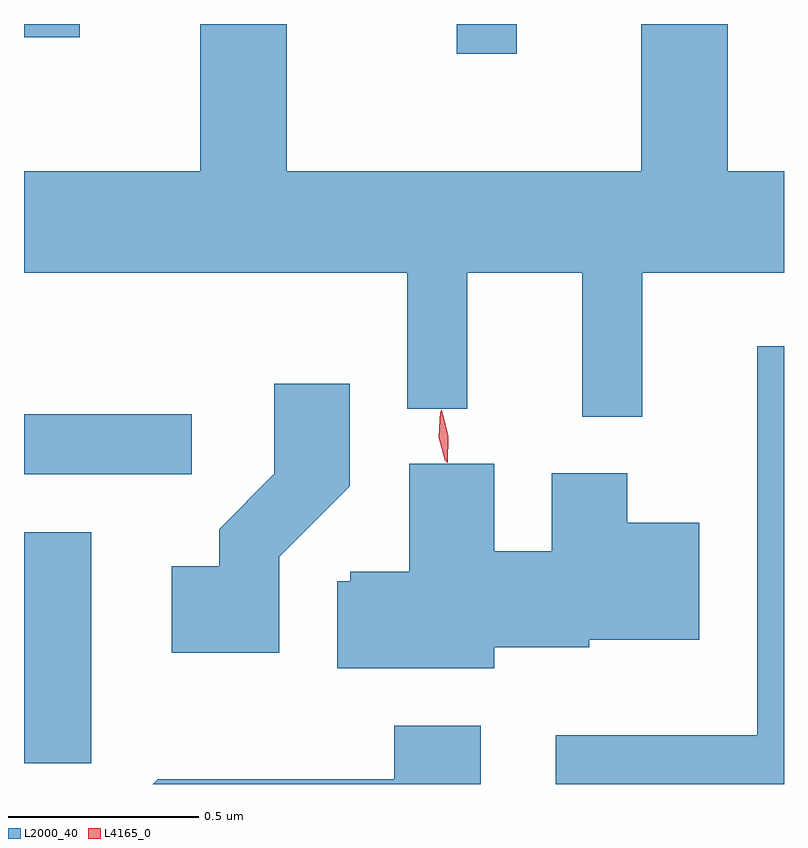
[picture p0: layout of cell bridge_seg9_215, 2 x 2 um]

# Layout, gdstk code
import gdstk
lib = gdstk.Library(unit=1e-6, precision=1e-09)
def R(c, l, rs):  # rectangles x0, y0, x1, y1
    for r in rs: c.add(gdstk.rectangle(r[:2], r[2:], *l))
def P(c, l, *ps):  # polygons
    for p in ps: c.add(gdstk.Polygon(p, *l))
L2000_40 = (2000, 40)
L4165_0 = (4165, 0)

bridge_seg9_215 = lib.new_cell('bridge_seg9_215')
R(bridge_seg9_215, L2000_40, [(1122.617,1959.446,1122.794,1960.054), (1122.617,1960.206,1123.058,1960.364), (1123.756,1961.313,1123.914,1961.391), (1122.617,1961.356,1122.764,1961.391)])
P(bridge_seg9_215, L2000_40, [(1124.244,1960.736),(1124.617,1960.736),(1124.617,1961.004),(1124.469,1961.004),(1124.469,1961.391),(1124.241,1961.391),(1124.241,1961.004),(1123.309,1961.004),(1123.309,1961.391),(1123.081,1961.391),(1123.081,1961.004),(1122.617,1961.004),(1122.617,1960.736),(1123.626,1960.736),(1123.626,1960.378),(1123.784,1960.378),(1123.784,1960.736),(1124.086,1960.736),(1124.086,1960.358),(1124.244,1960.358)],
  [(1124.617,1960.543),(1124.546,1960.543),(1124.546,1959.519),(1124.016,1959.519),(1124.016,1959.391),(1124.617,1959.391)],
  [(1123.289,1959.989),(1123.474,1960.174),(1123.474,1960.444),(1123.276,1960.444),(1123.276,1960.207),(1123.131,1960.062),(1123.131,1959.964),(1123.006,1959.964),(1123.006,1959.736),(1123.289,1959.736)],
  [(1123.854,1959.751),(1124.104,1959.751),(1124.104,1959.771),(1124.394,1959.771),(1124.394,1960.079),(1124.204,1960.079),(1124.204,1960.209),(1124.006,1960.209),(1124.006,1960.004),(1123.854,1960.004),(1123.854,1960.234),(1123.631,1960.234),(1123.631,1959.949),(1123.476,1959.949),(1123.476,1959.924),(1123.441,1959.924),(1123.441,1959.696),(1123.854,1959.696)],
  [(1123.819,1959.544),(1123.591,1959.544),(1123.591,1959.404),(1122.969,1959.404),(1122.956,1959.391),(1123.819,1959.391)])
P(bridge_seg9_215, L4165_0, [(1123.731,1960.237),(1123.73,1960.238),(1123.713,1960.305),(1123.715,1960.375),(1123.716,1960.375),(1123.716,1960.375),(1123.733,1960.307),(1123.732,1960.238)],
  [(1123.725,1960.24),(1123.709,1960.304),(1123.712,1960.371),(1123.713,1960.371),(1123.714,1960.371),(1123.729,1960.306),(1123.726,1960.24),(1123.726,1960.24)])

lib.write_gds('bridge_seg9_215.gds')
